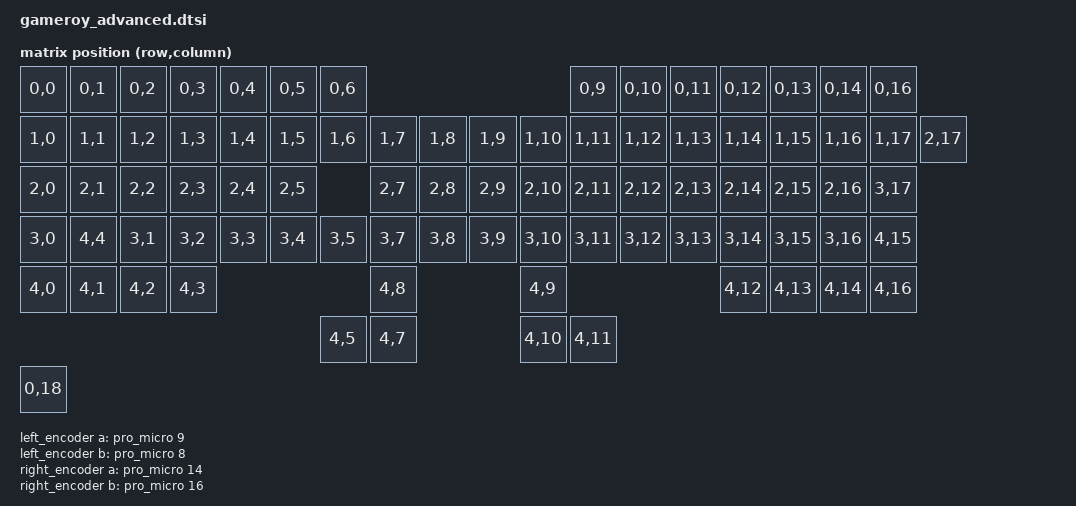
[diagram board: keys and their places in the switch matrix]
#include <dt-bindings/zmk/matrix_transform.h>

// is the matrix correct for the right half?

/ {
	chosen {
		zmk,kscan = &kscan0;
		zmk,matrix_transform = &default_transform;
	};

	default_transform: keymap_transform_0 {
		compatible = "zmk,matrix-transform";
		columns = <19>;
		rows = <5>;
// | SW0  | SW1  | SW2  | SW3  | SW4  | SW5  | SW6  |                                    | SW40 | SW41 | SW42 | SW43 | SW44 | SW45 |    SW47     |
// | SW7  | SW8  | SW9  | SW10 | SW11 | SW12 | SW13 | SW14 | SW15 |       | SW49 | SW50  | SW51 | SW52 | SW53 | SW54 | SW55 | SW56 | SW57 | SW66 |
// | SW16 | SW17 | SW18 | SW19 | SW20 | SW21 |      | SW22 | SW23 |       | SW58 | SW59  | SW60 | SW61 | SW62 | SW63 | SW64 | SW65 |    SW75    |
// | SW24 | SW36 | SW25 | SW26 | SW27 | SW28 | SW29 | SW30 | SW31 |       | SW66 | SW67 | SW68 | SW69 | SW70 | SW71 | SW72 | SW73 | SW74 |  SW82  |
// | SW32 | SW33 | SW34 | SW35 |                    | SW39 |                     | SW76 |                             | SW79 | SW80 | SW81 | SW83 |
//                                           | SW37 | SW38 |                     | SW77 | SW78 |
//
// | Dongle |
		map = <
RC(0,0) RC(0,1) RC(0,2) RC(0,3) RC(0,4) RC(0,5) RC(0,6)                                      RC(0,9) RC(0,10) RC(0,11) RC(0,12) RC(0,13) RC(0,14)      RC(0,16)
RC(1,0) RC(1,1) RC(1,2) RC(1,3) RC(1,4) RC(1,5) RC(1,6) RC(1,7) RC(1,8)     RC(1,9) RC(1,10) RC(1,11) RC(1,12) RC(1,13) RC(1,14) RC(1,15) RC(1,16) RC(1,17) RC(2,17)         
RC(2,0) RC(2,1) RC(2,2) RC(2,3) RC(2,4) RC(2,5)         RC(2,7) RC(2,8)     RC(2,9) RC(2,10) RC(2,11) RC(2,12) RC(2,13) RC(2,14) RC(2,15) RC(2,16)     RC(3,17)   
RC(3,0) RC(4,4) RC(3,1) RC(3,2) RC(3,3) RC(3,4) RC(3,5)	RC(3,7) RC(3,8)     RC(3,9) RC(3,10) RC(3,11) RC(3,12) RC(3,13) RC(3,14) RC(3,15) RC(3,16)     RC(4,15)
RC(4,0) RC(4,1) RC(4,2) RC(4,3) 						RC(4,8)                     RC(4,9)                         	RC(4,12) RC(4,13) RC(4,14) RC(4,16)
												RC(4,5) RC(4,7)                     RC(4,10) RC(4,11)

	RC(0,18)
		>;
	};
    chosen {
        zmk,kscan = &kscan0;
    };

    kscan0: kscan_0 {
        label = "KSCAN";
    };
	
	left_encoder: encoder_left {
		compatible = "alps,ec11";
		label = "LEFT_ENCODER";
		a-gpios = <&pro_micro 9 (GPIO_ACTIVE_HIGH | GPIO_PULL_UP)>;
		b-gpios = <&pro_micro 8 (GPIO_ACTIVE_HIGH | GPIO_PULL_UP)>;
		resolution = <4>;
		status = "disabled";
	};
	
	right_encoder: encoder_right {
		compatible = "alps,ec11";
		label = "RIGHT_ENCODER";
		a-gpios = <&pro_micro 14 (GPIO_ACTIVE_HIGH | GPIO_PULL_UP)>;
		b-gpios = <&pro_micro 16 (GPIO_ACTIVE_HIGH | GPIO_PULL_UP)>;
		resolution = <4>;
		status = "disabled";
	};

	sensors {
		compatible = "zmk,keymap-sensors";
		sensors = <&left_encoder &right_encoder>;
	};
};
